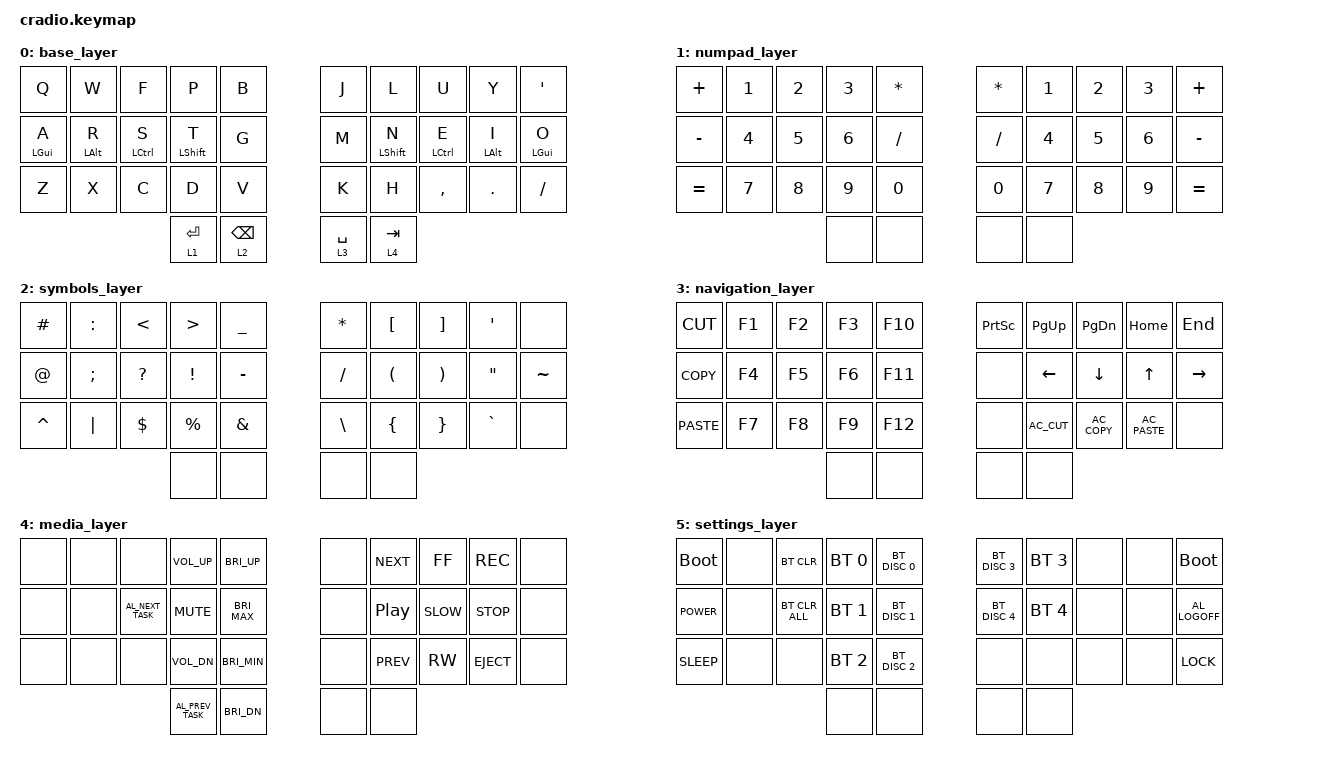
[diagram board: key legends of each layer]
#include <behaviors.dtsi>
#include <dt-bindings/zmk/keys.h>
#include <dt-bindings/zmk/bt.h>

// adjust mod-tap
&mt {
    flavor = "tap-preferred";
    tapping_term_ms = <300>;
};

/ {

    combos {
        compatible = "zmk,combos";
        combo_esc {
            timeout-ms = <50>;
            key-positions = <1 2>;
            bindings = <&kp ESC>;
         };
        combo_bspc {
            timeout-ms = <50>;
            key-positions = <7 8>;
            bindings = <&kp BSPC>;
        };
        combo_del {
            timeout-ms = <50>;
            key-positions = <8 9>;
            bindings = <&kp DEL>;
        };
    };


    conditional_layers {
        compatible = "zmk,conditional-layers";
        cond_layer_mgmt {
            if-layers = <1 4>;
            then-layer = <5>;
        };
    };


    keymap {
        compatible = "zmk,keymap";

        base_layer {
        bindings = <
//      _____________________________________________________________________________________________________________________________________________________________________________________________
//      |       Q          |         W        |         F        |        P         |         B        |         J        |         L        |        U         |         Y        |       '        |
        &kp Q              &kp W              &kp F              &kp P              &kp B              &kp J              &kp L              &kp U              &kp Y              &kp APOS
//      |     GUI - A      |    ALT - R       |    CTRL - S      |     SHIFT - T    |         G        |         M        |   SHIFT - N      |    CTRL - E      |     ALT - Y      |    GUI - O     |
        &mt LGUI A         &mt LALT R         &mt LCTRL S        &mt LSHFT T        &kp G              &kp M              &mt LSHFT N        &mt LCTRL E        &mt LALT I         &mt LGUI O
//      |       Z          |         X        |         C        |        D         |         V        |         K        |         H        |        , <       |         . >      |       / ?      |
        &kp Z              &kp X              &kp C              &kp D              &kp V              &kp K              &kp H              &kp COMMA          &kp PERIOD         &kp SLASH
//                                                               |                  |                  |                  |                  |
                                                                 &lt 1 ENTER        &lt 2 BSPC         &lt 3 SPACE        &lt 4 TAB
        >;
        };
	
        numpad_layer {
        bindings = <
//      _____________________________________________________________________________________________________________________________________________________________________________________________
//      |       +          |        1 !       |        2 @       |       3 #        |         *        |         *        |        1 !       |        2 @       |       3 #        |       +        |
        &kp PLUS           &kp N1             &kp N2             &kp N3             &kp ASTRK          &kp ASTRK          &kp N1             &kp N2             &kp N3             &kp PLUS
//      |      - _         |        4 $       |        5 %       |       6 ^        |        / ?       |        / ?       |        4 $       |        5 %       |       6 ^        |      - _       |
        &kp MINUS          &kp N4             &kp N5             &kp N6             &kp FSLH           &kp FSLH           &kp N4             &kp N5             &kp N6             &kp MINUS
//      |      = +         |        7 &       |        8 *       |       9 (        |        0 )       |        0 )       |        7 &       |        8 *       |       9 (        |      = +       |
        &kp EQUAL          &kp N7             &kp N8             &kp N9             &kp N0             &kp N0             &kp N7             &kp N8             &kp N9             &kp EQUAL
//                                                               |                  |                  |                  |                  |
                                                                 &none              &none              &none              &none
        >;
        };

        symbols_layer {
        bindings = <
//      _____________________________________________________________________________________________________________________________________________________________________________________________
//      |        #         |        :         |        <         |         >        |        _         |         *        |        [ {       |       ] }        |         '  "       |               |
        &kp HASH           &kp COLON          &kp LT             &kp GT             &kp UNDERSCORE     &kp ASTRK          &kp LBKT           &kp RBKT           &kp SQT              &none
//      |        @         |       ; :        |        ?         |         !        |       - _        |        / ?       |         (        |        )         |          "         |        ~      |
        &kp AT             &kp SEMICOLON      &kp QMARK          &kp EXCL           &kp MINUS          &kp FSLH           &kp LPAR           &kp RPAR           &kp DQT              &kp TILDE
//      |        ^         |        |         |        $         |         %        |        &         |        \ |       |         {        |        }         |         ` ~        |               |
        &kp CARET          &kp PIPE           &kp DLLR           &kp PRCNT          &kp AMPS           &kp BSLH           &kp LBRC           &kp RBRC           &kp GRAVE            &none
//                                                               |                  |                  |                  |                  |
                                                                 &none              &none              &none              &none
        >;
        };

        navigation_layer {
        bindings = <
//      _____________________________________________________________________________________________________________________________________________________________________________________________
//      |                  |                  |                  |                  |                  |                  |                  |                  |                    |               |
        &kp K_CUT          &kp F1             &kp F2             &kp F3             &kp F10            &kp PSCRN          &kp PG_UP          &kp PG_DN          &kp HOME             &kp END
//      |                  |                  |                  |                  |                  |                  |                  |                  |                    |               |
        &kp K_COPY         &kp F4             &kp F5             &kp F6             &kp F11            &none              &kp LEFT           &kp DOWN           &kp UP               &kp RIGHT
//      |                  |                  |                  |                  |                  |                  |                  |                  |                    |               |
        &kp K_PASTE        &kp F7             &kp F8             &kp F9             &kp F12            &none              &kp C_AC_CUT       &kp C_AC_COPY      &kp C_AC_PASTE       &none
//                                                               |                  |                  |                  |                  |
                                                                 &none              &none              &none              &none
        >;
        };

        media_layer {
        bindings = <
//      _____________________________________________________________________________________________________________________________________________________________________________________________
//      |                  |                  |                  |                  |                  |                  |                  |                  |                    |               |
        &none              &none              &none              &kp C_VOL_UP       &kp C_BRI_UP       &none              &kp C_NEXT         &kp C_FF           &kp C_REC            &none
//      |                  |                  |                  |                  |                  |                  |                  |                  |                    |               |
        &none              &none              &kp C_AL_NEXT_TASK &kp C_MUTE         &kp C_BRI_MAX      &none              &kp C_PP           &kp C_SLOW         &kp C_STOP           &none
//      |                  |                  |                  |                  |                  |                  |                  |                  |                    |               |
        &none              &none              &none              &kp C_VOL_DN       &kp C_BRI_MIN      &none              &kp C_PREV         &kp C_RW           &kp C_EJECT          &none
//                                                               |                  |                  |                  |                  |
                                                                 &kp C_AL_PREV_TASK &kp C_BRI_DN       &none              &none
        >;
        };

        settings_layer {
        bindings = <
//      _____________________________________________________________________________________________________________________________________________________________________________________________
//      |                  |                  |                  |                  |                  |                  |                  |                  |                    |               |
        &bootloader        &none              &bt BT_CLR         &bt BT_SEL 0       &bt BT_DISC 0      &bt BT_DISC 3      &bt BT_SEL 3       &none              &none                &bootloader
//      |                  |                  |                  |                  |                  |                  |                  |                  |                    |               |
        &kp C_POWER        &none              &bt BT_CLR_ALL     &bt BT_SEL 1       &bt BT_DISC 1      &bt BT_DISC 4      &bt BT_SEL 4       &none              &none                &kp C_AL_LOGOFF
//      |                  |                  |                  |                  |                  |                  |                  |                  |                    |               |
        &kp C_SLEEP        &none              &none              &bt BT_SEL 2       &bt BT_DISC 2      &none              &none              &none              &none                &kp K_LOCK
//                                                               |                  |                  |                  |                  |
                                                                 &none              &none              &none              &none
        >;
        };
    };
};
